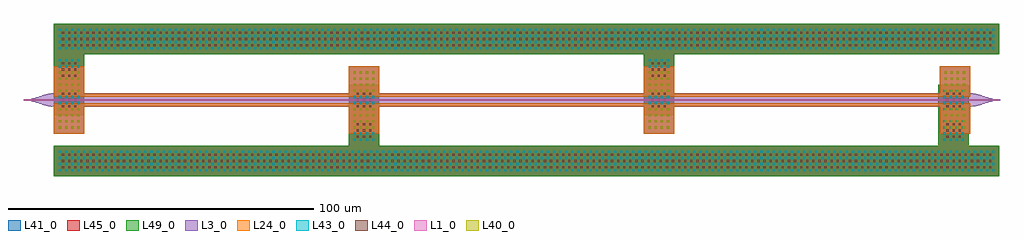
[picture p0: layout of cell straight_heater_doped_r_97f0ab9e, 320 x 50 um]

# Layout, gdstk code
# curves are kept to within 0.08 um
import gdstk
lib = gdstk.Library(unit=1e-6, precision=1e-09)
def R(c, l, rs):  # rectangles x0, y0, x1, y1
    for r in rs: c.add(gdstk.rectangle(r[:2], r[2:], *l))
def A(c, l, x, y, w, h, nx, ny, dx, dy):  # array of equal rectangles
    R(c, l, [(x+i*dx, y+j*dy, x+i*dx+w, y+j*dy+h) for i in range(nx) for j in range(ny)])
def P(c, l, *ps):  # polygons
    for p in ps: c.add(gdstk.Polygon(p, *l))
L1_0 = (1, 0)
L3_0 = (3, 0)
L24_0 = (24, 0)
L40_0 = (40, 0)
L41_0 = (41, 0)
L43_0 = (43, 0)
L44_0 = (44, 0)
L45_0 = (45, 0)
L49_0 = (49, 0)

straight_heater_doped_r_ = lib.new_cell('straight_heater_doped_r_97f0ab9e')
P(straight_heater_doped_r_, L1_0, [(-10,-0.25),(-10,0.25),(-0.606,0.2),(300.606,0.2),(310,0.25),(310,-0.25),(300.606,-0.2),(-0.606,-0.2)])
P(straight_heater_doped_r_, L3_0, [(-0.2,-11),(-0.2,-2.198),(-2.727,-1.838),(-7.677,-0.367),(-10,-0.1),(-10,0.1),(-7.475,0.413),(-2.525,1.887),(-0.2,2.198),(-0.2,11),(9.8,11),(9.8,2.2),(96.467,2.2),(96.467,11),(106.467,11),(106.467,2.2),(193.134,2.2),(193.134,11),(203.134,11),(203.134,2.2),(290.201,2.2),(290.201,11),(300.201,11),(300.201,2.198),(302.727,1.838),(307.677,0.367),(310,0.1),(310,-0.1),(307.475,-0.413),(302.525,-1.887),(300.201,-2.198),(300.201,-11),(290.201,-11),(290.201,-2.2),(203.134,-2.2),(203.134,-11),(193.134,-11),(193.134,-2.2),(106.467,-2.2),(106.467,-11),(96.467,-11),(96.467,-2.2),(9.8,-2.2),(9.8,-11)])
P(straight_heater_doped_r_, L24_0, [(-0.2,-11),(-0.2,-1),(300.201,-1),(300.201,-11),(290.201,-11),(290.201,-2),(203.134,-2),(203.134,-11),(193.134,-11),(193.134,-2),(106.467,-2),(106.467,-11),(96.467,-11),(96.467,-2),(9.8,-2),(9.8,-11)],
  [(-0.2,1),(-0.2,11),(9.8,11),(9.8,2),(96.467,2),(96.467,11),(106.467,11),(106.467,2),(193.134,2),(193.134,11),(203.134,11),(203.134,2),(290.201,2),(290.201,11),(300.201,11),(300.201,1)])
A(straight_heater_doped_r_, L40_0, 1.45, -9.35, 0.7, 0.7, 4, 4, 2, 2)
A(straight_heater_doped_r_, L40_0, 98.117, -9.35, 0.7, 0.7, 4, 4, 2, 2)
A(straight_heater_doped_r_, L40_0, 194.784, -9.35, 0.7, 0.7, 4, 4, 2, 2)
A(straight_heater_doped_r_, L40_0, 291.851, -9.35, 0.7, 0.7, 4, 4, 2, 2)
A(straight_heater_doped_r_, L40_0, 1.45, 2.65, 0.7, 0.7, 4, 4, 2, 2)
A(straight_heater_doped_r_, L40_0, 98.117, 2.65, 0.7, 0.7, 4, 4, 2, 2)
A(straight_heater_doped_r_, L40_0, 194.784, 2.65, 0.7, 0.7, 4, 4, 2, 2)
A(straight_heater_doped_r_, L40_0, 291.851, 2.65, 0.7, 0.7, 4, 4, 2, 2)
P(straight_heater_doped_r_, L41_0, [(-0.2,-25),(-0.2,-15),(96.467,-15),(96.467,11),(106.467,11),(106.467,-15),(289.801,-15),(289.801,5),(290.201,5),(290.201,11),(300.201,11),(300.201,1),(299.801,1),(299.801,-1),(300.201,-1),(300.201,-11),(299.801,-11),(299.801,-15),(309.8,-15),(309.8,-25)],
  [(-0.2,-11),(-0.2,25),(309.8,25),(309.8,15),(203.134,15),(203.134,-11),(193.134,-11),(193.134,15),(9.8,15),(9.8,-11)])
A(straight_heater_doped_r_, L43_0, 1.45, -23.35, 0.7, 0.7, 154, 4, 2, 2)
A(straight_heater_doped_r_, L43_0, 98.117, -13.35, 0.7, 0.7, 4, 4, 2, 2)
A(straight_heater_doped_r_, L43_0, 291.451, -13.35, 0.7, 0.7, 4, 4, 2, 2)
A(straight_heater_doped_r_, L43_0, 1.45, -3.35, 0.7, 0.7, 4, 4, 2, 2)
A(straight_heater_doped_r_, L43_0, 98.117, -3.35, 0.7, 0.7, 4, 4, 2, 2)
A(straight_heater_doped_r_, L43_0, 194.784, -3.35, 0.7, 0.7, 4, 4, 2, 2)
A(straight_heater_doped_r_, L43_0, 291.451, -3.35, 0.7, 0.7, 4, 4, 2, 2)
A(straight_heater_doped_r_, L43_0, 1.45, 6.65, 0.7, 0.7, 4, 4, 2, 2)
A(straight_heater_doped_r_, L43_0, 194.784, 6.65, 0.7, 0.7, 4, 4, 2, 2)
A(straight_heater_doped_r_, L43_0, 1.45, 16.65, 0.7, 0.7, 154, 4, 2, 2)
A(straight_heater_doped_r_, L44_0, 2.45, -22.35, 0.7, 0.7, 153, 3, 2, 2)
A(straight_heater_doped_r_, L44_0, 99.117, -12.35, 0.7, 0.7, 3, 3, 2, 2)
A(straight_heater_doped_r_, L44_0, 292.451, -12.35, 0.7, 0.7, 3, 3, 2, 2)
A(straight_heater_doped_r_, L44_0, 2.45, -2.35, 0.7, 0.7, 3, 3, 2, 2)
A(straight_heater_doped_r_, L44_0, 99.117, -2.35, 0.7, 0.7, 3, 3, 2, 2)
A(straight_heater_doped_r_, L44_0, 195.784, -2.35, 0.7, 0.7, 3, 3, 2, 2)
A(straight_heater_doped_r_, L44_0, 292.451, -2.35, 0.7, 0.7, 3, 3, 2, 2)
A(straight_heater_doped_r_, L44_0, 2.45, 7.65, 0.7, 0.7, 3, 3, 2, 2)
A(straight_heater_doped_r_, L44_0, 195.784, 7.65, 0.7, 0.7, 3, 3, 2, 2)
A(straight_heater_doped_r_, L44_0, 2.45, 17.65, 0.7, 0.7, 153, 3, 2, 2)
P(straight_heater_doped_r_, L45_0, [(-0.2,-25),(-0.2,-15),(96.467,-15),(96.467,5),(106.467,5),(106.467,-15),(289.801,-15),(289.801,5),(299.801,5),(299.801,-15),(309.8,-15),(309.8,-25)],
  [(-0.2,-5),(-0.2,25),(309.8,25),(309.8,15),(203.134,15),(203.134,-5),(193.134,-5),(193.134,15),(9.8,15),(9.8,-5)])
P(straight_heater_doped_r_, L49_0, [(-0.2,-25),(-0.2,-15),(96.467,-15),(96.467,5),(106.467,5),(106.467,-15),(289.801,-15),(289.801,5),(299.801,5),(299.801,-15),(309.8,-15),(309.8,-25)],
  [(-0.2,-5),(-0.2,25),(309.8,25),(309.8,15),(203.134,15),(203.134,-5),(193.134,-5),(193.134,15),(9.8,15),(9.8,-5)])

lib.write_gds('straight_heater_doped_r_97f0ab9e.gds')
